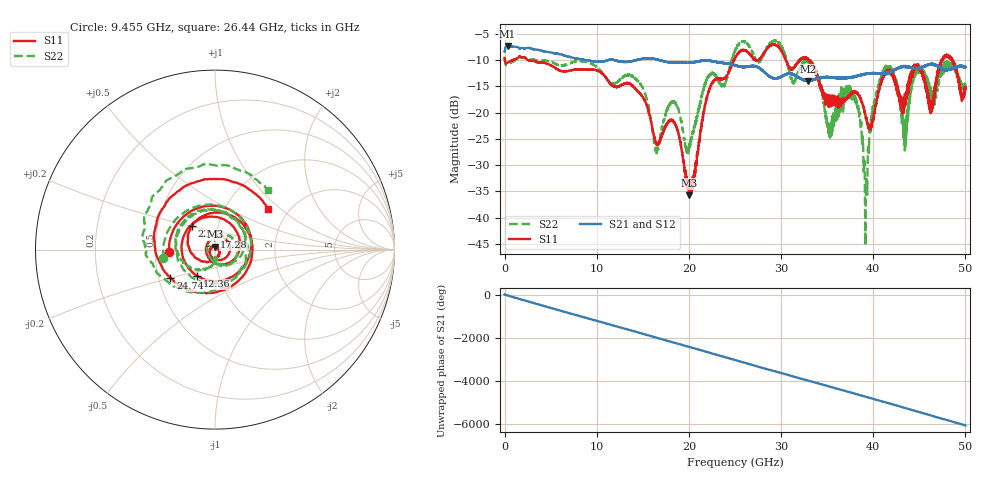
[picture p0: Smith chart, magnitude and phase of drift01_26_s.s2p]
!Created with skrf (http://scikit-rf.org).
# Hz S RI R 50.0
!freq ReS11 ImS11 ReS21 ImS21 ReS12 ImS12 ReS22 ImS22
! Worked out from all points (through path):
!   10001 points, 300 kHz to 50 GHz, reference 50 ohm
!   highest |S21| = -7.33 dB at 325.3 MHz (marker M1); lowest = -14.0 dB at 32.89 GHz (marker M2)
!   group delay of S21, straight-line fit = 335 ps
!   lowest |S11| = -35.7 dB at 20.01 GHz (marker M3), VSWR 1.03, Z = 49.9 + j1.63 ohm
!   |S11| at or under -10 dB: 2.566 GHz to 24.91 GHz (22.34 GHz wide, 163 % of centre); 30.51 GHz to 32.02 GHz (1.506 GHz wide, 4.82 % of centre); 33.07 GHz to 47.42 GHz (14.35 GHz wide, 35.7 % of centre) (the widest 3 of 21)
!   |S22| runs from -45.4 to -6.3 dB; largest |S21 - S12| = 0.0079
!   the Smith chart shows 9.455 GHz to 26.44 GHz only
!   S11 on the Smith chart (normalised r, x): 9.455 GHz: 0.59, -0.02; 12.36 GHz: 0.79, -0.24; 17.28 GHz: 0.98, +0.14; 22.42 GHz: 0.75, +0.21; 24.74 GHz: 0.58, -0.20; 26.44 GHz: 1.57, +0.83
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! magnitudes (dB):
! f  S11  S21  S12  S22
! 300 kHz  -9.6  -8.4  -8.5  -9.5
! 325.3 MHz  -10.5  -7.3  -7.3  -10.9
! 8.335 GHz  -11.8  -9.9  -9.9  -10.2
! 9.455 GHz  -11.8  -10.2  -10.2  -10.7
! 12.36 GHz  -15.1  -10.2  -10.2  -13.9
! 16.67 GHz  -26.1  -10.0  -9.9  -27.0
! 17.28 GHz  -23.3  -10.2  -10.2  -21.5
! 20.01 GHz  -35.7  -10.5  -10.5  -26.6
! 22.42 GHz  -14.7  -10.2  -10.2  -12.5
! 24.74 GHz  -10.6  -10.9  -10.9  -9.4
! 25 GHz  -9.6  -11.0  -11.0  -8.4
! 26.44 GHz  -8.6  -11.2  -11.3  -7.0
! 32.89 GHz  -9.9  -14.0  -13.8  -10.0
! 33.34 GHz  -10.8  -13.8  -13.8  -10.6
! 35.23 GHz  -17.1  -13.2  -13.2  -23.0
! 38 GHz  -16.0  -13.1  -13.2  -17.2
! 39.17 GHz  -20.7  -12.7  -12.7  -41.4
! 40.15 GHz  -19.8  -12.5  -12.6  -17.8
! 41.67 GHz  -12.1  -12.3  -12.4  -11.8
! 43.39 GHz  -17.8  -11.3  -11.2  -22.0
! 44.85 GHz  -10.7  -11.6  -11.6  -11.9
! 50 GHz  -15.2  -11.4  -11.3  -15.0
